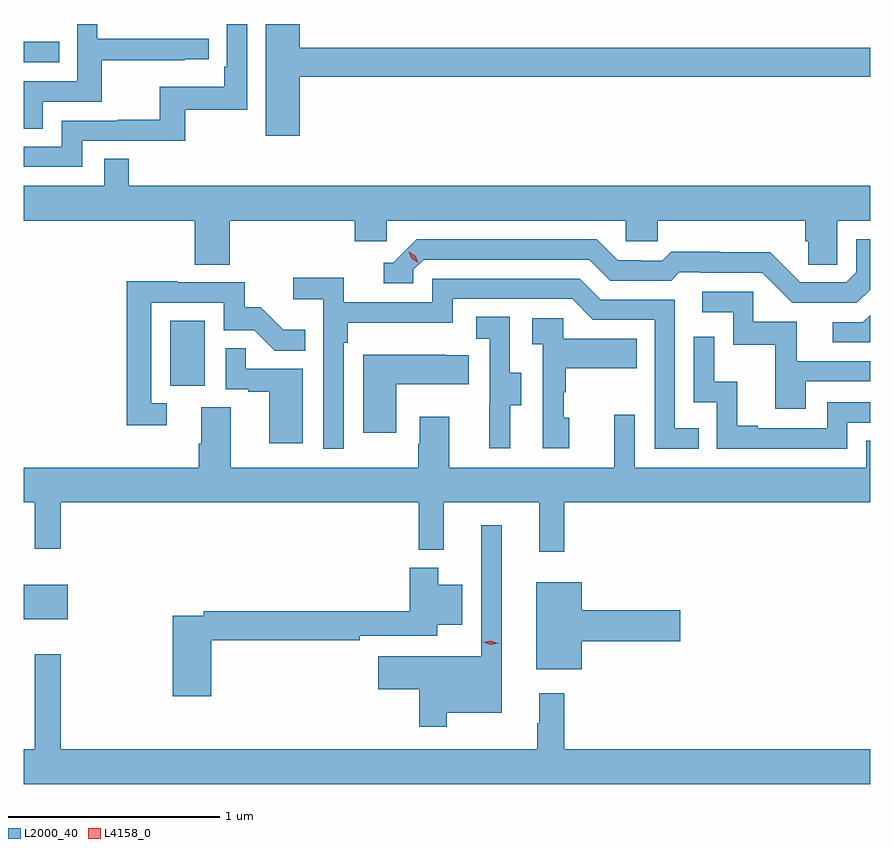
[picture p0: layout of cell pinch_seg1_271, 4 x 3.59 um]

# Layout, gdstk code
import gdstk
lib = gdstk.Library(unit=1e-6, precision=1e-09)
def R(c, l, rs):  # rectangles x0, y0, x1, y1
    for r in rs: c.add(gdstk.rectangle(r[:2], r[2:], *l))
def P(c, l, *ps):  # polygons
    for p in ps: c.add(gdstk.Polygon(p, *l))
L2000_40 = (2000, 40)
L4158_0 = (4158, 0)

pinch_seg1_271 = lib.new_cell('pinch_seg1_271')
R(pinch_seg1_271, L2000_40, [(925.201,541.856,925.408,542.017), (925.892,542.958,926.056,543.265), (925.201,544.488,925.367,544.584)])
P(pinch_seg1_271, L2000_40, [(925.291,544.302),(925.568,544.302),(925.568,544.498),(925.961,544.498),(925.961,544.503),(926.074,544.503),(926.074,544.599),(925.548,544.599),(925.548,544.669),(925.452,544.669),(925.452,544.398),(925.201,544.398),(925.201,544.174),(925.291,544.174)],
  [(926.506,544.42),(929.201,544.42),(929.201,544.556),(926.506,544.556),(926.506,544.669),(926.345,544.669),(926.345,544.14),(926.506,544.14)],
  [(925.476,544.116),(925.963,544.116),(925.963,544.263),(926.256,544.263),(926.256,544.669),(926.16,544.669),(926.16,544.468),(926.147,544.468),(926.147,544.372),(925.842,544.372),(925.842,544.217),(925.645,544.217),(925.645,544.212),(925.38,544.212),(925.38,544.089),(925.201,544.089),(925.201,543.993),(925.476,543.993)],
  [(926.174,543.74),(926.765,543.74),(926.765,543.642),(926.916,543.642),(926.916,543.74),(928.047,543.74),(928.047,543.642),(928.197,543.642),(928.197,543.74),(928.895,543.74),(928.895,543.642),(928.909,543.642),(928.909,543.532),(929.046,543.532),(929.046,543.74),(929.201,543.74),(929.201,543.904),(925.697,543.904),(925.697,544.031),(925.581,544.031),(925.581,543.904),(925.201,543.904),(925.201,543.74),(926.009,543.74),(926.009,543.532),(926.174,543.532)],
  [(929.201,543.413),(929.201,543.651),(929.136,543.651),(929.136,543.495),(929.088,543.447),(928.872,543.447),(928.73,543.589),(928.494,543.589),(928.494,543.592),(928.261,543.592),(928.219,543.549),(928.116,543.549),(928.116,543.552),(928.009,543.552),(927.91,543.651),(927.057,543.651),(926.946,543.54),(926.903,543.54),(926.903,543.444),(927.042,543.444),(927.042,543.507),(927.09,543.555),(927.873,543.555),(927.972,543.456),(928.261,543.456),(928.3,543.495),(928.399,543.495),(928.399,543.492),(928.692,543.492),(928.833,543.351),(929.139,543.351)],
  [(926.712,543.161),(926.732,543.161),(926.732,543.257),(927.228,543.257),(927.228,543.369),(927.792,543.369),(927.891,543.27),(928.182,543.27),(928.182,542.661),(928.391,542.661),(928.391,542.757),(928.278,542.757),(928.278,543.366),(927.928,543.366),(927.829,543.465),(927.132,543.465),(927.132,543.354),(926.714,543.354),(926.714,543.47),(926.475,543.47),(926.475,543.368),(926.616,543.368),(926.616,542.661),(926.712,542.661)],
  [(925.876,542.877),(925.803,542.877),(925.803,543.351),(926.145,543.351),(926.145,543.222),(926.289,543.222),(926.387,543.124),(926.531,543.124),(926.531,543.223),(926.427,543.223),(926.32,543.33),(926.244,543.33),(926.244,543.447),(925.925,543.447),(925.925,543.452),(925.687,543.452),(925.687,542.772),(925.876,542.772)],
  [(928.897,542.979),(929.201,542.979),(929.201,543.075),(928.855,543.075),(928.855,543.261),(928.65,543.261),(928.65,543.402),(928.407,543.402),(928.407,543.306),(928.554,543.306),(928.554,543.153),(928.753,543.153),(928.753,542.85),(928.897,542.85)],
  [(929.201,543.293),(929.166,543.258),(929.025,543.258),(929.025,543.165),(929.201,543.165)],
  [(927.499,542.866),(927.553,542.866),(927.553,543.021),(927.498,543.021),(927.498,543.284),(927.339,543.284),(927.339,543.181),(927.402,543.181),(927.402,542.877),(927.401,542.877),(927.401,542.664),(927.499,542.664)],
  [(927.778,542.808),(927.753,542.808),(927.753,542.927),(927.763,542.927),(927.763,543.041),(928.097,543.041),(928.097,543.181),(927.75,543.181),(927.75,543.279),(927.603,543.279),(927.603,543.155),(927.654,543.155),(927.654,542.664),(927.778,542.664)],
  [(929.094,542.784),(929.201,542.784),(929.201,542.88),(928.998,542.88),(928.998,542.757),(928.669,542.757),(928.669,542.77),(928.574,542.77),(928.574,542.978),(928.464,542.978),(928.464,543.19),(928.368,543.19),(928.368,542.88),(928.476,542.88),(928.476,542.661),(929.094,542.661)],
  [(926.518,543.039),(926.249,543.039),(926.249,543.137),(926.154,543.137),(926.154,542.943),(926.261,542.943),(926.261,542.931),(926.36,542.931),(926.36,542.688),(926.518,542.688)],
  [(926.962,542.966),(927.305,542.966),(927.305,543.103),(927.197,543.103),(927.197,543.106),(926.804,543.106),(926.804,542.736),(926.962,542.736)],
  [(927.755,542.408),(929.201,542.408),(929.201,542.699),(929.184,542.699),(929.184,542.572),(928.089,542.572),(928.089,542.821),(927.992,542.821),(927.992,542.572),(927.211,542.572),(927.211,542.812),(927.071,542.812),(927.071,542.684),(927.064,542.684),(927.064,542.572),(926.179,542.572),(926.179,542.858),(926.039,542.858),(926.039,542.684),(926.027,542.684),(926.027,542.572),(925.201,542.572),(925.201,542.408),(925.253,542.408),(925.253,542.187),(925.375,542.187),(925.375,542.408),(927.067,542.408),(927.067,542.183),(927.185,542.183),(927.185,542.408),(927.638,542.408),(927.638,542.175),(927.755,542.175)],
  [(927.199,541.412),(927.46,541.412),(927.46,542.299),(927.363,542.299),(927.363,541.681),(926.877,541.681),(926.877,541.523),(927.07,541.523),(927.07,541.347),(927.199,541.347)],
  [(926.087,541.756),(926.789,541.756),(926.789,541.776),(927.154,541.776),(927.154,541.829),(927.274,541.829),(927.274,542.017),(927.16,542.017),(927.16,542.098),(927.026,542.098),(927.026,541.892),(926.05,541.892),(926.05,541.872),(925.904,541.872),(925.904,541.491),(926.087,541.491)],
  [(927.838,541.751),(928.303,541.751),(928.303,541.898),(927.838,541.898),(927.838,542.029),(927.623,542.029),(927.623,541.619),(927.838,541.619)],
  [(929.201,541.24),(927.755,541.24),(927.755,541.504),(927.638,541.504),(927.638,541.364),(927.627,541.364),(927.627,541.24),(925.375,541.24),(925.375,541.69),(925.253,541.69),(925.253,541.24),(925.201,541.24),(925.201,541.076),(929.201,541.076)])
P(pinch_seg1_271, L4158_0, [(927.065,543.54),(927.035,543.56),(927.019,543.593),(927.019,543.593),(927.019,543.593),(927.05,543.574),(927.065,543.541),(927.065,543.54)],
  [(927.408,541.734),(927.373,541.745),(927.373,541.746),(927.373,541.746),(927.409,541.754),(927.444,541.742),(927.444,541.742),(927.444,541.742)])

lib.write_gds('pinch_seg1_271.gds')
